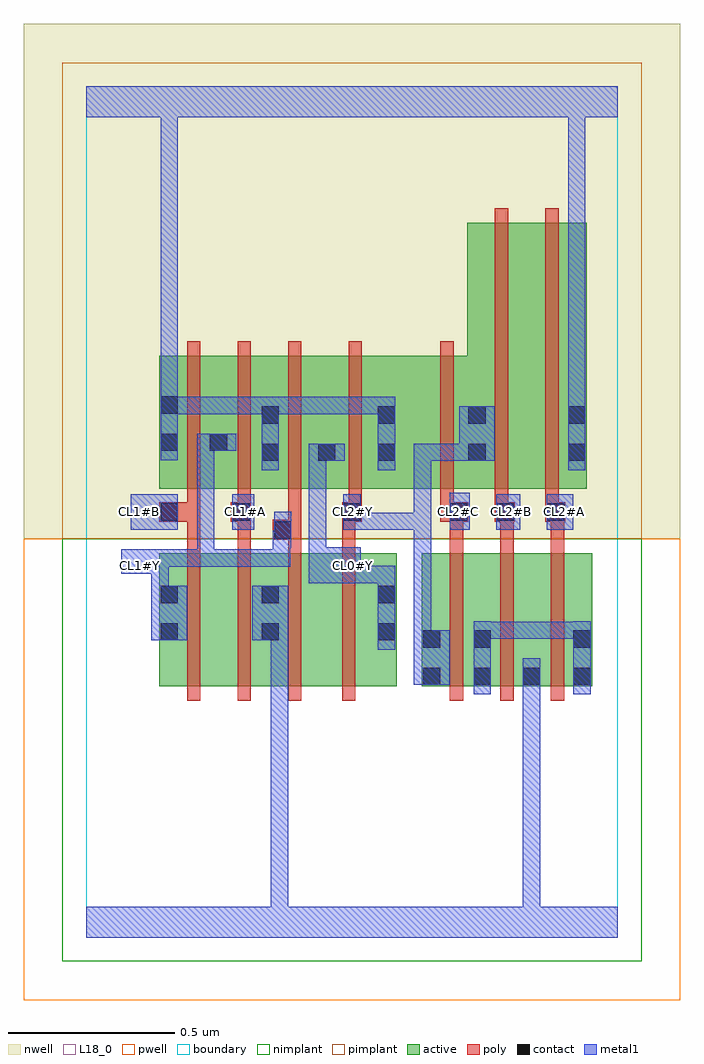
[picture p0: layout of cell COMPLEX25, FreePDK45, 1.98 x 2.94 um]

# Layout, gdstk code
import gdstk
lib = gdstk.Library(unit=1e-6, precision=1e-09)
def R(c, l, rs):  # rectangles x0, y0, x1, y1
    for r in rs: c.add(gdstk.rectangle(r[:2], r[2:], *l))
def A(c, l, x, y, w, h, nx, ny, dx, dy):  # array of equal rectangles
    R(c, l, [(x+i*dx, y+j*dy, x+i*dx+w, y+j*dy+h) for i in range(nx) for j in range(ny)])
active = (1, 0)
pwell = (2, 0)
nwell = (3, 0)
nimplant = (4, 0)
pimplant = (5, 0)
poly = (9, 0)
contact = (10, 0)
metal1 = (11, 0)
L18_0 = (18, 0)
boundary = (235, 0)

complex25 = lib.new_cell('COMPLEX25')
R(complex25, active, [(0.22,0.756,0.28,1.156), (0.22,0.756,0.4,1.156), (0.4,0.756,0.584,1.156), (0.524,0.756,0.704,1.156), (0.524,0.756,0.584,1.062), (0.704,0.756,0.934,1.156), (0.874,0.756,0.934,1.156), (1.01,0.756,1.07,1.156), (1.01,0.756,1.222,1.156), (1.162,0.756,1.222,1.156), (1.162,0.756,1.37,1.156), (1.31,0.756,1.522,1.156), (1.31,0.756,1.37,0.816), (1.462,0.756,1.522,1.156), (0.22,1.35,0.28,1.75), (0.22,1.35,0.428,1.75), (0.368,1.35,0.428,1.644), (0.368,1.35,0.584,1.75), (0.524,1.35,0.754,1.75), (0.524,1.35,0.584,1.644), (0.694,1.35,0.934,1.75), (0.694,1.35,0.754,1.644), (0.874,1.35,1.206,1.75), (1.146,1.35,1.326,2.15), (1.326,1.35,1.506,2.15), (1.446,1.35,1.506,2.044), (0.874,1.43,0.934,1.644), (1.146,1.43,1.206,1.644)])
R(complex25, pwell, [(-0.188,-0.188,1.788,1.2)])
R(complex25, nwell, [(-0.188,1.2,1.788,2.748)])
R(complex25, nimplant, [(-0.072,-0.072,1.672,1.2)])
R(complex25, pimplant, [(-0.072,1.2,1.672,2.632)])
A(complex25, poly, 0.304, 0.712, 0.04, 0.488, 3, 2, 0.152, 0.594)
A(complex25, poly, 1.094, 0.712, 0.04, 0.488, 3, 1, 0.152, 0)
A(complex25, poly, 1.094, 1.16, 0.04, 0.13, 3, 1, 0.152, 0)
R(complex25, poly, [(0.77,0.712,0.81,1.2), (0.304,1.16,0.344,1.29), (0.456,1.16,0.496,1.29), (0.608,1.16,0.648,1.236), (0.77,1.16,0.81,1.29), (0.562,1.196,0.648,1.256), (0.608,1.216,0.648,1.256), (0.608,1.216,0.648,1.256), (0.608,1.216,0.648,1.346), (0.22,1.25,0.344,1.31), (0.304,1.25,0.344,1.29), (0.304,1.25,0.344,1.29), (0.436,1.25,0.496,1.31), (0.456,1.25,0.496,1.29), (0.456,1.25,0.496,1.29), (0.77,1.25,0.81,1.29), (0.77,1.25,0.81,1.29), (0.77,1.25,0.83,1.31), (1.066,1.25,1.15,1.31), (1.094,1.25,1.134,1.29), (1.094,1.25,1.134,1.29), (1.23,1.25,1.29,1.31), (1.246,1.25,1.286,1.29), (1.246,1.25,1.286,1.29), (1.382,1.25,1.442,1.31), (1.398,1.25,1.438,1.29), (1.398,1.25,1.438,1.29), (0.304,1.27,0.344,1.346), (0.456,1.27,0.496,1.346), (0.79,1.27,0.83,1.346), (1.066,1.27,1.106,1.346), (1.23,1.27,1.27,1.346), (1.382,1.27,1.422,1.346), (0.79,1.306,0.83,1.794), (1.066,1.306,1.106,1.794), (1.23,1.306,1.27,2.194), (1.382,1.306,1.422,2.194)])
R(complex25, contact, [(1.014,0.76,1.066,0.812), (1.166,0.76,1.218,0.812), (1.314,0.76,1.366,0.812), (1.466,0.76,1.518,0.812), (1.014,0.872,1.066,0.924), (1.166,0.872,1.218,0.924), (1.466,0.872,1.518,0.924), (0.224,0.894,0.276,0.946), (0.528,0.894,0.58,0.946), (0.878,0.894,0.93,0.946), (0.224,1.006,0.276,1.058), (0.528,1.006,0.58,1.058), (0.878,1.006,0.93,1.058), (0.566,1.2,0.618,1.252), (0.224,1.254,0.276,1.306), (0.44,1.254,0.492,1.306), (0.774,1.254,0.826,1.306), (1.094,1.254,1.146,1.306), (1.234,1.254,1.286,1.306), (1.386,1.254,1.438,1.306), (0.528,1.434,0.58,1.486), (0.698,1.434,0.75,1.486), (0.878,1.434,0.93,1.486), (1.15,1.434,1.202,1.486), (1.45,1.434,1.502,1.486), (0.224,1.464,0.276,1.516), (0.372,1.464,0.424,1.516), (0.528,1.546,0.58,1.598), (0.878,1.546,0.93,1.598), (1.15,1.546,1.202,1.598), (1.45,1.546,1.502,1.598), (0.224,1.576,0.276,1.628)])
R(complex25, metal1, [(0,0,1.6,0.092), (0.556,0.04,0.608,0.092), (0.556,0.04,0.608,0.092), (0.556,0.04,0.608,0.092), (0.556,0.04,0.608,0.092), (0.556,0.04,0.608,0.092), (0.556,0.04,0.608,0.092), (0.556,0.04,0.608,0.092), (0.556,0.04,0.608,0.092), (0.556,0.04,0.608,0.092), (0.556,0.04,0.608,0.092), (0.556,0.04,0.608,0.092), (0.556,0.04,0.608,0.092), (0.556,0.04,0.608,0.946), (1.314,0.04,1.366,0.784), (1.166,0.732,1.218,0.952), (1.314,0.732,1.366,0.784), (1.314,0.732,1.366,0.784), (1.314,0.732,1.366,0.784), (1.314,0.732,1.366,0.784), (1.314,0.732,1.366,0.784), (1.314,0.732,1.366,0.784), (1.314,0.732,1.366,0.784), (1.314,0.732,1.366,0.784), (1.314,0.732,1.366,0.784), (1.314,0.732,1.366,0.784), (1.314,0.732,1.366,0.784), (1.314,0.732,1.366,0.784), (1.314,0.732,1.366,0.84), (1.466,0.732,1.518,0.952), (0.986,0.76,1.094,0.924), (0.878,0.866,0.93,1.086), (0.986,0.872,1.038,0.924), (0.986,0.872,1.038,0.924), (0.986,0.872,1.038,1.278), (0.196,0.894,0.304,1.058), (0.5,0.894,0.608,1.058), (1.166,0.898,1.328,0.95), (1.276,0.898,1.328,0.95), (1.276,0.898,1.328,0.95), (1.276,0.898,1.328,0.95), (1.276,0.898,1.518,0.95), (1.466,0.898,1.518,0.95), (1.466,0.898,1.518,0.95), (0.196,1.006,0.248,1.146), (0.878,1.034,0.93,1.118), (0.67,1.066,0.826,1.174), (0.774,1.066,0.826,1.118), (0.774,1.066,0.826,1.118), (0.774,1.066,0.93,1.118), (0.878,1.066,0.93,1.118), (0.106,1.094,0.248,1.168), (0.196,1.116,0.248,1.168), (0.196,1.116,0.248,1.168), (0.196,1.116,0.386,1.168), (0.334,1.116,0.386,1.168), (0.334,1.116,0.386,1.168), (0.334,1.116,0.386,1.168), (0.334,1.116,0.386,1.168), (0.334,1.116,0.386,1.168), (0.334,1.116,0.614,1.168), (0.334,1.116,0.386,1.516), (0.562,1.116,0.614,1.224), (0.67,1.122,0.722,1.174), (0.67,1.122,0.722,1.174), (0.67,1.122,0.722,1.486), (0.562,1.172,0.618,1.224), (0.566,1.172,0.618,1.28), (0.134,1.226,0.276,1.334), (0.44,1.226,0.506,1.334), (0.774,1.226,0.826,1.334), (0.774,1.226,1.036,1.278), (0.984,1.226,1.036,1.278), (0.984,1.226,1.036,1.278), (0.984,1.226,1.038,1.278), (0.986,1.226,1.038,1.486), (1.094,1.226,1.154,1.338), (1.234,1.226,1.306,1.334), (1.386,1.226,1.466,1.334), (0.528,1.406,0.58,1.626), (0.878,1.406,0.93,1.626), (1.45,1.406,1.502,1.626), (0.67,1.434,0.778,1.486), (0.986,1.434,1.038,1.486), (0.986,1.434,1.174,1.486), (1.122,1.434,1.174,1.486), (1.122,1.434,1.174,1.486), (1.122,1.434,1.23,1.598), (0.224,1.436,0.276,1.656), (0.334,1.464,0.452,1.516), (0.224,1.574,0.276,1.626), (0.224,1.574,0.276,1.626), (0.224,1.574,0.442,1.626), (0.39,1.574,0.442,1.626), (0.39,1.574,0.442,1.626), (0.39,1.574,0.442,1.626), (0.39,1.574,0.58,1.626), (0.528,1.574,0.58,1.626), (0.528,1.574,0.58,1.626), (0.528,1.574,0.82,1.626), (0.768,1.574,0.82,1.626), (0.768,1.574,0.82,1.626), (0.768,1.574,0.82,1.626), (0.768,1.574,0.93,1.626), (1.45,1.574,1.502,1.626), (1.45,1.574,1.502,1.626), (1.45,1.574,1.502,2.52), (0.224,1.604,0.276,1.656), (0.224,1.604,0.276,1.656), (0.224,1.604,0.276,1.656), (0.224,1.604,0.276,1.656), (0.224,1.604,0.276,1.656), (0.224,1.604,0.276,1.656), (0.224,1.604,0.276,1.656), (0.224,1.604,0.276,1.656), (0.224,1.604,0.276,1.656), (0.224,1.604,0.276,1.656), (0.224,1.604,0.276,1.656), (0.224,1.604,0.276,1.656), (0.224,1.604,0.276,1.656), (0.224,1.604,0.276,1.656), (0.224,1.604,0.276,1.656), (0.224,1.604,0.276,1.656), (0.224,1.604,0.276,2.52), (0,2.468,1.6,2.56), (1.45,2.468,1.502,2.52), (1.45,2.468,1.502,2.52), (1.45,2.468,1.502,2.52), (1.45,2.468,1.502,2.52), (1.45,2.468,1.502,2.52), (1.45,2.468,1.502,2.52)])
A(complex25, L18_0, 0.134, 1.254, 0.052, 0.052, 4, 1, 0.32, 0)
R(complex25, L18_0, [(0,0,1.6,0.092), (0.556,0.04,0.608,0.092), (0.556,0.04,0.608,0.092), (0.556,0.04,0.608,0.092), (0.556,0.04,0.608,0.092), (0.556,0.04,0.608,0.092), (0.556,0.04,0.608,0.092), (0.556,0.04,0.608,0.092), (0.556,0.04,0.608,0.092), (0.556,0.04,0.608,0.092), (0.556,0.04,0.608,0.092), (0.556,0.04,0.608,0.092), (0.556,0.04,0.608,0.092), (0.556,0.04,0.608,0.946), (1.314,0.04,1.366,0.784), (1.314,0.732,1.366,0.784), (1.314,0.732,1.366,0.784), (1.314,0.732,1.366,0.784), (1.314,0.732,1.366,0.784), (1.314,0.732,1.366,0.784), (1.314,0.732,1.366,0.784), (1.314,0.732,1.366,0.784), (1.314,0.732,1.366,0.784), (1.314,0.732,1.366,0.784), (1.314,0.732,1.366,0.784), (1.314,0.732,1.366,0.784), (1.314,0.732,1.366,0.784), (1.314,0.732,1.366,0.84), (0.986,0.76,1.094,0.924), (0.878,0.866,0.93,1.086), (0.986,0.872,1.038,0.924), (0.986,0.872,1.038,0.924), (0.986,0.872,1.038,1.278), (0.196,0.894,0.304,1.058), (0.5,0.894,0.608,1.058), (0.196,1.006,0.248,1.146), (0.878,1.034,0.93,1.118), (0.67,1.066,0.826,1.174), (0.774,1.066,0.826,1.118), (0.774,1.066,0.826,1.118), (0.774,1.066,0.93,1.118), (0.878,1.066,0.93,1.118), (0.106,1.094,0.248,1.168), (0.134,1.094,0.186,1.146), (0.774,1.094,0.826,1.146), (0.196,1.116,0.248,1.168), (0.196,1.116,0.248,1.168), (0.196,1.116,0.386,1.168), (0.334,1.116,0.386,1.168), (0.334,1.116,0.386,1.168), (0.334,1.116,0.386,1.168), (0.334,1.116,0.386,1.168), (0.334,1.116,0.386,1.168), (0.334,1.116,0.386,1.516), (0.334,1.116,0.614,1.168), (0.562,1.116,0.614,1.224), (0.67,1.122,0.722,1.174), (0.67,1.122,0.722,1.174), (0.67,1.122,0.722,1.486), (0.562,1.172,0.618,1.224), (0.566,1.172,0.618,1.28), (0.134,1.226,0.276,1.334), (0.44,1.226,0.506,1.334), (0.774,1.226,0.826,1.334), (0.774,1.226,1.036,1.278), (0.984,1.226,1.036,1.278), (0.984,1.226,1.036,1.278), (0.984,1.226,1.038,1.278), (0.986,1.226,1.038,1.486), (1.094,1.226,1.154,1.338), (1.234,1.226,1.306,1.334), (1.386,1.226,1.466,1.334), (1.254,1.254,1.306,1.306), (1.414,1.254,1.466,1.306), (0.528,1.406,0.58,1.626), (0.878,1.406,0.93,1.626), (1.45,1.406,1.502,1.626), (0.67,1.434,0.778,1.486), (0.986,1.434,1.038,1.486), (0.986,1.434,1.174,1.486), (1.122,1.434,1.23,1.598), (1.122,1.434,1.174,1.486), (1.122,1.434,1.174,1.486), (0.224,1.436,0.276,1.656), (0.334,1.464,0.452,1.516), (0.224,1.574,0.276,1.626), (0.224,1.574,0.276,1.626), (0.224,1.574,0.442,1.626), (0.39,1.574,0.442,1.626), (0.39,1.574,0.442,1.626), (0.39,1.574,0.442,1.626), (0.39,1.574,0.58,1.626), (0.528,1.574,0.58,1.626), (0.528,1.574,0.58,1.626), (0.528,1.574,0.82,1.626), (0.768,1.574,0.82,1.626), (0.768,1.574,0.82,1.626), (0.768,1.574,0.82,1.626), (0.768,1.574,0.93,1.626), (1.45,1.574,1.502,1.626), (1.45,1.574,1.502,1.626), (1.45,1.574,1.502,2.52), (0.224,1.604,0.276,1.656), (0.224,1.604,0.276,1.656), (0.224,1.604,0.276,1.656), (0.224,1.604,0.276,1.656), (0.224,1.604,0.276,1.656), (0.224,1.604,0.276,1.656), (0.224,1.604,0.276,1.656), (0.224,1.604,0.276,1.656), (0.224,1.604,0.276,1.656), (0.224,1.604,0.276,1.656), (0.224,1.604,0.276,1.656), (0.224,1.604,0.276,1.656), (0.224,1.604,0.276,1.656), (0.224,1.604,0.276,1.656), (0.224,1.604,0.276,1.656), (0.224,1.604,0.276,1.656), (0.224,1.604,0.276,2.52), (0,2.468,1.6,2.56), (1.45,2.468,1.502,2.52), (1.45,2.468,1.502,2.52), (1.45,2.468,1.502,2.52), (1.45,2.468,1.502,2.52), (1.45,2.468,1.502,2.52), (1.45,2.468,1.502,2.52)])
R(complex25, boundary, [(0,0,1.6,2.56)])
complex25.add(gdstk.Label('CL0#Y', (0.8,1.12), layer=11, texttype=0))
complex25.add(gdstk.Label('CL1#A', (0.48,1.28), layer=11, texttype=0))
complex25.add(gdstk.Label('CL1#B', (0.16,1.28), layer=11, texttype=0))
complex25.add(gdstk.Label('CL1#Y', (0.16,1.12), layer=11, texttype=0))
complex25.add(gdstk.Label('CL2#A', (1.44,1.28), layer=11, texttype=0))
complex25.add(gdstk.Label('CL2#B', (1.28,1.28), layer=11, texttype=0))
complex25.add(gdstk.Label('CL2#C', (1.12,1.28), layer=11, texttype=0))
complex25.add(gdstk.Label('CL2#Y', (0.8,1.28), layer=11, texttype=0))

lib.write_gds('COMPLEX25.gds')
